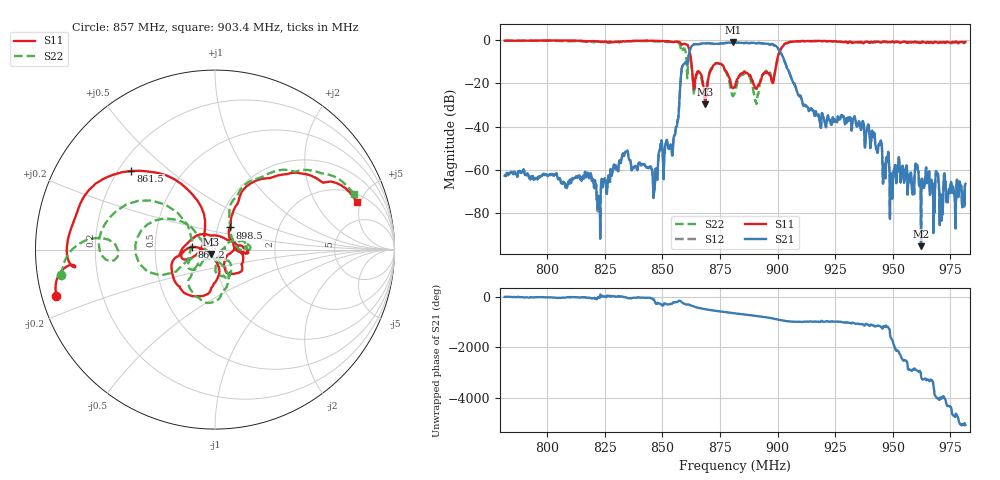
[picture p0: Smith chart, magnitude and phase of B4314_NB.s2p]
! Matrix data file written by TouchstoneData, EPCOS AG
! FILENAME: "LZ41A_NB.s2p_newformat"
! COMMENT: "(LZ41A_NB.s2p) EPCOS AG 19.07.2011 16:03:21"
! INFO: nport=2, nfreq=1601
! DATE: "Thu Jul 21 17:56:10 2011"
! USER: "Michael Schemies"
! port | pin | signal
!  1  |  1  |  in
!  2  |  4  |  out
# MHZ S MA R 50
! freq  magS11 angS11  magS21 angS21  magS12 angS12  magS22 angS22
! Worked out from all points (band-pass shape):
!   1601 points, 781.5 MHz to 981.5 MHz, reference 50 ohm
!   highest |S21| = -1.04 dB at 880.6 MHz (marker M1); lowest = -95.2 dB at 962.2 MHz (marker M2)
!   |S21| within 3 dB of the highest: 862.1 MHz to 900.3 MHz (38.16 MHz wide, 4.33 % of centre)
!   lowest |S11| = -29.6 dB at 868.6 MHz (marker M3), VSWR 1.07, Z = 47.7 - j2.33 ohm
!   |S11| at or under -10 dB: 862.5 MHz to 899.7 MHz (37.17 MHz wide, 4.22 % of centre)
!   |S22| runs from -29.5 to -0.3 dB; largest |S21 - S12| = 0.0012
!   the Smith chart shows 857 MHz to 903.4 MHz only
!   S11 on the Smith chart (normalised r, x): 857 MHz: 0.04, -0.14; 861.5 MHz: 0.25, +0.37; 867.2 MHz: 0.77, +0.02; 898.5 MHz: 1.14, +0.29; 903.4 MHz: 2.61, +4.67
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781.5  0.9734 -89.5  0.0007418 0.2  0.0007355 0.3  0.9638 -83.1
814.875  0.9712 -102.0  0.0006019 -16.5  0.0006105 -17.4  0.9332 -96.5
822.375  0.9343 -105.4  0.0002523 -18.7  0.0002518 -19.0  0.9273 -98.3
833.75  0.9311 -108.3  0.002517 -5.0  0.002513 -5.2  0.9478 -103.0
846.75  0.9672 -127.6  0.0004985 166.9  0.0005144 166.9  0.9416 -122.4
848.25  0.9611 -130.7  0.001842 118.3  0.001841 118.4  0.9332 -126.1
857  0.9208 -163.6  0.01834 -163.9  0.01836 -163.9  0.8671 -170.6
861.5  0.6417 137.0  0.4685 53.6  0.4685 53.6  0.4424 -176.7
863.625  0.07304 155.4  0.798 -23.0  0.7981 -23.0  0.05533 172.6
867.25  0.1301 173.2  0.8372 -103.1  0.837 -103.1  0.1108 -160.3
868.625  0.03318 -132.6  0.842 -127.7  0.842 -127.8  0.05317 -88.7
874  0.2953 -127.1  0.822 156.7  0.8222 156.7  0.2944 -103.3
880.625  0.07824 80.2  0.8876 78.6  0.8877 78.6  0.05074 -92.9
881.5  0.08618 39.4  0.8828 67.9  0.8823 67.8  0.06188 -60.8
889.125  0.117 -61.2  0.8656 -16.9  0.8658 -16.9  0.08325 -81.6
898.5  0.1478 56.7  0.7497 -146.5  0.7498 -146.4  0.1477 52.9
903.375  0.8369 18.7  0.2908 123.7  0.2909 123.7  0.8354 21.9
914.875  0.9563 -34.5  0.02553 99.6  0.02555 99.5  0.9401 -30.3
936.375  0.9095 -59.1  0.008941 6.1  0.008956 6.0  0.8906 -53.3
948.25  0.9049 -63.5  0.001701 -176.3  0.001704 -176.6  0.8858 -57.3
962.25  0.8924 -65.0  1.745e-05 99.3  2.189e-05 104.6  0.8806 -63.5
981.5  0.9157 -71.4  0.0004812 -46.2  0.0004774 -46.6  0.8905 -65.0
